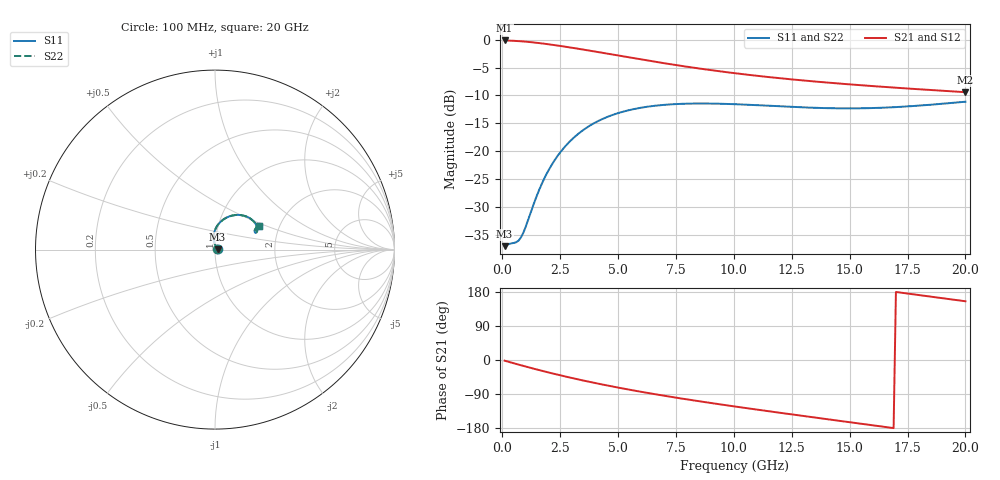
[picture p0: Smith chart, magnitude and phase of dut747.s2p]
! Touchstone file exported from HFSS 2024.1.0
!  File:  C:/UserFiles/LocalFiles/RDL_TSV_Batchsim/temp_RDL_TSV_747_1779897044.aedt
!  Generated:  12:04:14 AM May 28, 2026
!  Design:  RDL_TSV
!  Project:  temp_RDL_TSV_747_1779897044
!  Setup:  Setup1
!  Solution:  Sweep
! Variables:
!  dtsv = 7.99um
!  hbump = 3um
!  htsv = 94.87um
!  ldown = 576.82um
!  lrdl = 256.51um
!  p = 40
!  p1 = 45.79um
!  rhole = 10um
!  subl = 2756.5um
!  t = 450um
!  tdown = 4.43um
!  trdl = 3.33um
!  viad = 10um
!  wdown = 14.97um
!  wrdl = 25.39um
!  xbump = 18um
# GHz S MA R 50.000000
! Terminal data exported
! Port[1] = TM1_1_T1
! Port[2] = TM1_4_T1
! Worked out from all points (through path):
!   200 points, 100 MHz to 20 GHz, reference 50 ohm
!   highest |S21| = -0.14 dB at 100 MHz (marker M1); lowest = -9.4 dB at 20 GHz (marker M2)
!   group delay of S21, straight-line fit = 26.8 ps
!   lowest |S11| = -37.0 dB at 100 MHz (marker M3), VSWR 1.03, Z = 51.4 + j0.199 ohm
!   |S11| at or under -10 dB: start of sweep to end of sweep
!   |S22| runs from -37.0 to -11.1 dB; largest |S21 - S12| = 1.6e-14
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0.1  0.01409 7.9  0.984 -1.8  0.984 -1.8  0.01405 7.7
! Gamma 0 0 0 0
! Port Impedance 50 0 50 0
0.6  0.01529 42.6  0.974 -10.4  0.974 -10.4  0.01502 42.1
0.8  0.0168 60.7  0.9679 -13.8  0.9679 -13.8  0.01641 60.6
1  0.02074 77.2  0.9605 -17.1  0.9605 -17.1  0.02027 77.5
1.6  0.04539 96.8  0.932 -26.8  0.932 -26.8  0.04489 97.4
1.8  0.05616 97.4  0.921 -29.9  0.921 -29.9  0.05567 98.0
2.1  0.07349 96.0  0.9035 -34.5  0.9035 -34.5  0.07298 96.5
2.4  0.0915 93.2  0.8852 -38.9  0.8852 -38.9  0.09099 93.7
2.7  0.1096 89.7  0.8663 -43.2  0.8663 -43.2  0.1091 90.1
3.1  0.1331 84.5  0.8407 -48.8  0.8407 -48.8  0.1326 84.9
3.5  0.1552 79.2  0.8149 -54.2  0.8149 -54.2  0.1547 79.6
4.2  0.1891 70.2  0.7702 -63.2  0.7702 -63.2  0.1886 70.5
4.9  0.2163 61.9  0.7272 -71.6  0.7272 -71.6  0.2157 62.2
5.8  0.2414 52.6  0.6756 -81.8  0.6756 -81.8  0.2409 52.8
6.8  0.2584 44.0  0.6242 -92.4  0.6242 -92.4  0.2577 44.2
8.4  0.2678 33.6  0.5555 -107.9  0.5555 -107.9  0.2672 33.7
10.1  0.2638 26.5  0.4989 -123.2  0.4989 -123.2  0.263 26.6
11.7  0.2545 23.1  0.4577 -136.8  0.4577 -136.8  0.2537 23.2
13.4  0.2454 22.4  0.4235 -151.0  0.4235 -151.0  0.2446 22.4
15  0.2421 23.7  0.3975 -164.2  0.3975 -164.2  0.2413 23.8
16.7  0.2469 26.0  0.3746 -178.1  0.3746 -178.1  0.2461 26.1
20  0.2779 28.3  0.3384 155.0  0.3384 155.0  0.2772 28.4
